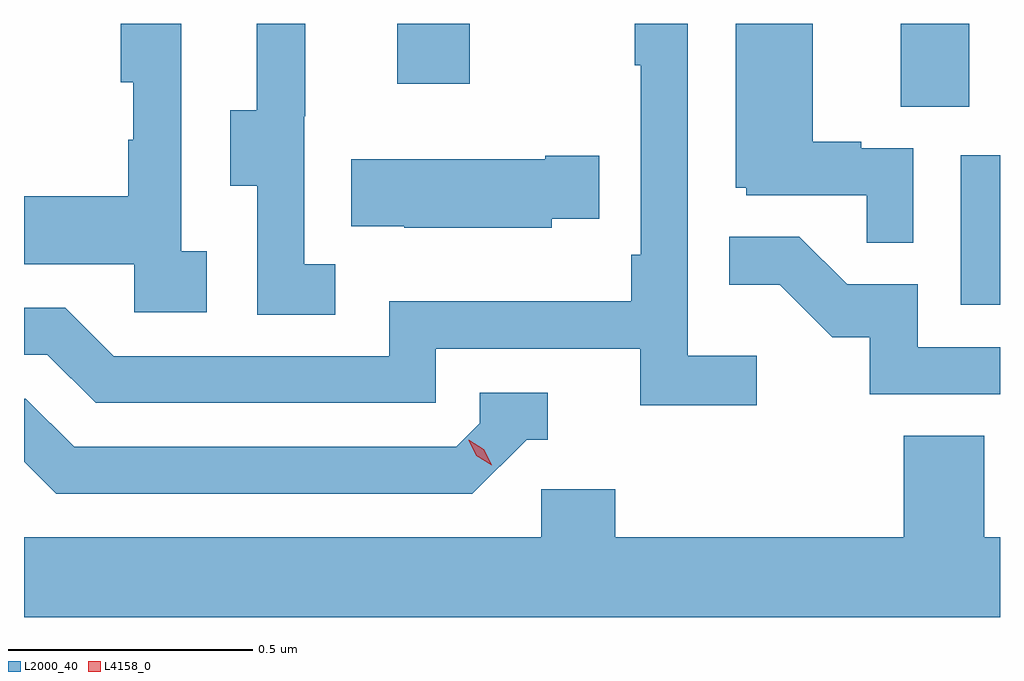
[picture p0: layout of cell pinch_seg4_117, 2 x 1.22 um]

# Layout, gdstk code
import gdstk
lib = gdstk.Library(unit=1e-6, precision=1e-09)
def R(c, l, rs):  # rectangles x0, y0, x1, y1
    for r in rs: c.add(gdstk.rectangle(r[:2], r[2:], *l))
def P(c, l, *ps):  # polygons
    for p in ps: c.add(gdstk.Polygon(p, *l))
L2000_40 = (2000, 40)
L4158_0 = (4158, 0)

pinch_seg4_117 = lib.new_cell('pinch_seg4_117')
R(pinch_seg4_117, L2000_40, [(1059.134,794.796,1059.214,795.103), (1059.011,795.202,1059.151,795.372), (1057.979,795.249,1058.127,795.372)])
P(pinch_seg4_117, L2000_40, [(1057.852,794.879),(1057.788,794.879),(1057.788,795.183),(1057.79,795.183),(1057.79,795.372),(1057.691,795.372),(1057.691,795.195),(1057.637,795.195),(1057.637,795.04),(1057.692,795.04),(1057.692,794.776),(1057.852,794.776)],
  [(1058.716,794.692),(1058.574,794.692),(1058.574,795.372),(1058.466,795.372),(1058.466,795.287),(1058.478,795.287),(1058.478,794.899),(1058.458,794.899),(1058.458,794.803),(1057.962,794.803),(1057.962,794.691),(1057.398,794.691),(1057.299,794.79),(1057.214,794.79),(1057.214,794.694),(1057.262,794.694),(1057.361,794.595),(1058.058,794.595),(1058.058,794.706),(1058.477,794.706),(1058.477,794.59),(1058.716,794.59)],
  [(1059.036,795.117),(1058.93,795.117),(1058.93,795.13),(1058.83,795.13),(1058.83,795.372),(1058.672,795.372),(1058.672,795.036),(1058.694,795.036),(1058.694,795.021),(1058.941,795.021),(1058.941,794.923),(1059.036,794.923)],
  [(1057.588,794.906),(1057.536,794.906),(1057.536,795.372),(1057.412,795.372),(1057.412,795.252),(1057.438,795.252),(1057.438,795.134),(1057.428,795.134),(1057.428,795.019),(1057.214,795.019),(1057.214,794.879),(1057.44,794.879),(1057.44,794.781),(1057.588,794.781)],
  [(1058.295,794.972),(1058.393,794.972),(1058.393,795.102),(1058.282,795.102),(1058.282,795.094),(1057.885,795.094),(1057.885,794.957),(1057.993,794.957),(1057.993,794.954),(1058.295,794.954)],
  [(1059.214,794.709),(1059.045,794.709),(1059.045,794.838),(1058.901,794.838),(1058.803,794.936),(1058.659,794.936),(1058.659,794.837),(1058.763,794.837),(1058.87,794.73),(1058.947,794.73),(1058.947,794.613),(1059.214,794.613)],
  [(1058.244,794.52),(1058.287,794.52),(1058.287,794.616),(1058.148,794.616),(1058.148,794.553),(1058.1,794.505),(1057.317,794.505),(1057.218,794.604),(1057.214,794.604),(1057.214,794.475),(1057.28,794.409),(1058.133,794.409)],
  [(1059.214,794.32),(1059.182,794.32),(1059.182,794.528),(1059.017,794.528),(1059.017,794.32),(1058.426,794.32),(1058.426,794.418),(1058.274,794.418),(1058.274,794.32),(1057.214,794.32),(1057.214,794.156),(1059.214,794.156)])
P(pinch_seg4_117, L4158_0, [(1058.172,794.467),(1058.141,794.487),(1058.125,794.519),(1058.125,794.52),(1058.125,794.52),(1058.156,794.5),(1058.172,794.468),(1058.172,794.467)])

lib.write_gds('pinch_seg4_117.gds')
